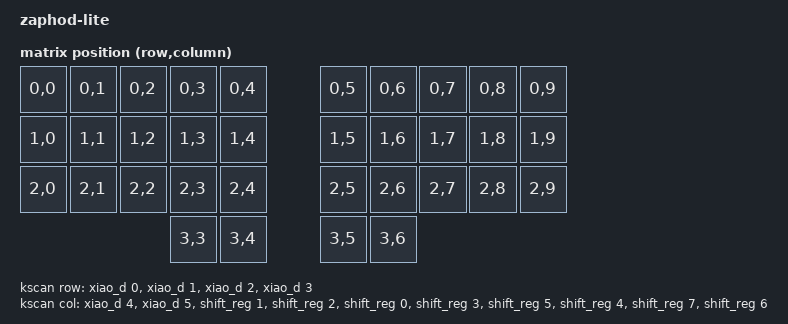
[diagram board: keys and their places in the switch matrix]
/*
 * Copyright (c) 2020 Pete Johanson
 *
 * SPDX-License-Identifier: MIT
 */

#include <dt-bindings/zmk/matrix_transform.h>

&xiao_spi {
	status = "okay";

	cs-gpios = <&xiao_d 7 GPIO_ACTIVE_LOW>, <&xiao_d 6 GPIO_ACTIVE_HIGH>;
	shift_reg: 595@0 {
		compatible = "zmk,gpio-595";
		status = "okay";
		gpio-controller;
		spi-max-frequency = <200000>;
		reg = <0>;
		label = "4HC595";
		#gpio-cells = <2>;
		ngpios = <8>;
	};

	ls0xx: ls0xx@1 {
		compatible = "sharp,ls0xx";
		label = "DISPLAY";
		spi-max-frequency = <2000000>;
		reg = <1>;
		width = <144>;
		height = <168>;
		// disp-en-gpios = <&gpio0 23 GPIO_ACTIVE_HIGH>;
	};

};


&xiao_serial { status = "disabled"; };

/ {
	model = "zaphod-lite";
	compatible = "petejohanson,zaphod-lite";

	chosen {
		zmk,kscan = &kscan;
		zmk,matrix_transform = &transform;
		zephyr,display = &ls0xx;
	};

	transform: transform {
		compatible = "zmk,matrix-transform";
		rows = <4>;
		columns = <10>;

		map = <
	RC(0,0) RC(0,1) RC(0,2) RC(0,3) RC(0,4) 	RC(0,5) RC(0,6) RC(0,7) RC(0,8) RC(0,9)
	RC(1,0) RC(1,1) RC(1,2) RC(1,3) RC(1,4) 	RC(1,5) RC(1,6) RC(1,7) RC(1,8) RC(1,9)
	RC(2,0) RC(2,1) RC(2,2) RC(2,3) RC(2,4) 	RC(2,5) RC(2,6) RC(2,7) RC(2,8) RC(2,9)
	                       RC(3,3)  RC(3,4) 	RC(3,5) RC(3,6)
	>;
	};
	
	kscan: kscan {
		compatible = "zmk,kscan-gpio-matrix";
		label = "KSCAN";

		debounce-press-ms = <1>;
		debounce-release-ms = <5>;

		diode-direction = "col2row";

		col-gpios
			= <&xiao_d 4 (GPIO_ACTIVE_HIGH)>
			, <&xiao_d 5 (GPIO_ACTIVE_HIGH)>
			, <&shift_reg 1 (GPIO_ACTIVE_HIGH)>
			, <&shift_reg 2 (GPIO_ACTIVE_HIGH)>
			, <&shift_reg 0 (GPIO_ACTIVE_HIGH)>
			, <&shift_reg 3 (GPIO_ACTIVE_HIGH)>
			, <&shift_reg 5 (GPIO_ACTIVE_HIGH)>
			, <&shift_reg 4 (GPIO_ACTIVE_HIGH)>
			, <&shift_reg 7 (GPIO_ACTIVE_HIGH)>
			, <&shift_reg 6 (GPIO_ACTIVE_HIGH)>
			;
		row-gpios
			= <&xiao_d 0  (GPIO_ACTIVE_HIGH | GPIO_PULL_DOWN)>
			, <&xiao_d 1  (GPIO_ACTIVE_HIGH | GPIO_PULL_DOWN)>
			, <&xiao_d 2 (GPIO_ACTIVE_HIGH | GPIO_PULL_DOWN)>
			, <&xiao_d 3 (GPIO_ACTIVE_HIGH | GPIO_PULL_DOWN)>
			;
	};
};

